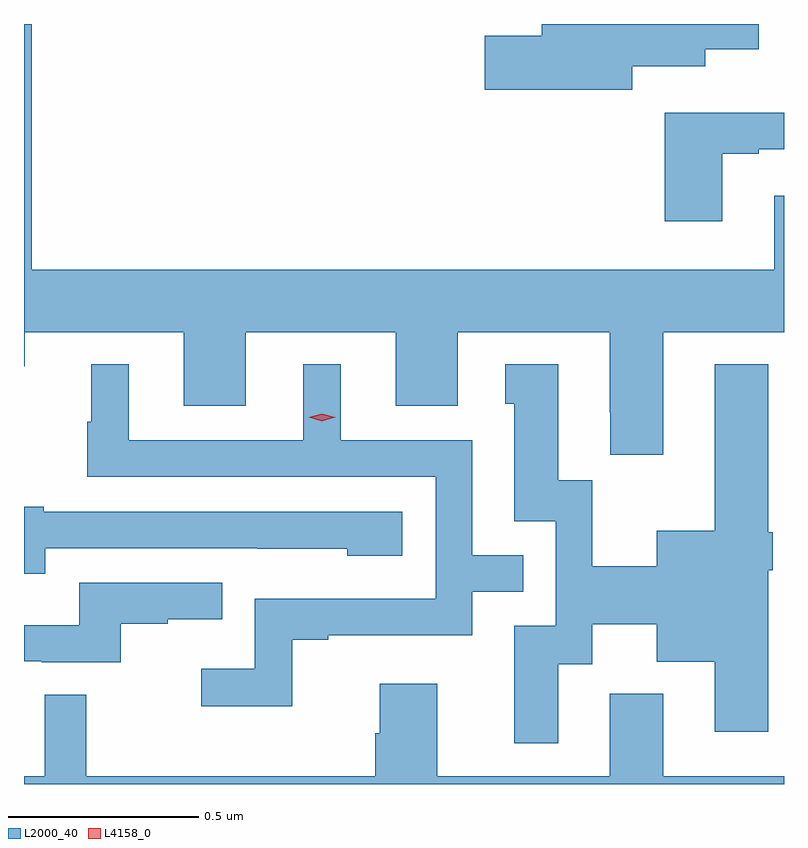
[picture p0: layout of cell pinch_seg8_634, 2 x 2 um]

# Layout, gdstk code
import gdstk
lib = gdstk.Library(unit=1e-6, precision=1e-09)
def P(c, l, *ps):  # polygons
    for p in ps: c.add(gdstk.Polygon(p, *l))
L2000_40 = (2000, 40)
L4158_0 = (4158, 0)

pinch_seg8_634 = lib.new_cell('pinch_seg8_634')
P(pinch_seg8_634, L2000_40, [(216.118,1090.56),(216.31,1090.56),(216.31,1090.604),(216.451,1090.604),(216.451,1090.671),(215.879,1090.671),(215.879,1090.64),(215.73,1090.64),(215.73,1090.498),(216.118,1090.498)],
  [(216.199,1089.86),(216.517,1089.86),(216.517,1090.219),(216.491,1090.219),(216.491,1090.024),(214.538,1090.024),(214.538,1090.671),(214.517,1090.671),(214.517,1089.77),(214.519,1089.77),(214.519,1089.86),(214.937,1089.86),(214.937,1089.666),(215.101,1089.666),(215.101,1089.86),(215.495,1089.86),(215.495,1089.666),(215.659,1089.666),(215.659,1089.86),(216.059,1089.86),(216.059,1089.649),(216.06,1089.649),(216.06,1089.537),(216.199,1089.537)],
  [(216.355,1090.329),(216.451,1090.329),(216.451,1090.341),(216.517,1090.341),(216.517,1090.438),(216.203,1090.438),(216.203,1090.152),(216.355,1090.152)],
  [(215.223,1089.051),(215.317,1089.051),(215.317,1089.063),(215.697,1089.063),(215.697,1089.177),(215.831,1089.177),(215.831,1089.273),(215.697,1089.273),(215.697,1089.576),(215.35,1089.576),(215.35,1089.775),(215.252,1089.775),(215.252,1089.576),(214.792,1089.576),(214.792,1089.775),(214.694,1089.775),(214.694,1089.624),(214.683,1089.624),(214.683,1089.48),(215.601,1089.48),(215.601,1089.159),(215.124,1089.159),(215.124,1088.974),(214.983,1088.974),(214.983,1088.876),(215.223,1088.876)],
  [(215.923,1088.986),(216.013,1088.986),(216.013,1089.092),(216.182,1089.092),(216.182,1088.993),(216.335,1088.993),(216.335,1088.808),(216.475,1088.808),(216.475,1089.233),(216.488,1089.233),(216.488,1089.333),(216.475,1089.333),(216.475,1089.775),(216.335,1089.775),(216.335,1089.337),(216.182,1089.337),(216.182,1089.244),(216.012,1089.244),(216.012,1089.471),(215.923,1089.471),(215.923,1089.775),(215.783,1089.775),(215.783,1089.672),(215.807,1089.672),(215.807,1089.363),(215.916,1089.363),(215.916,1089.087),(215.807,1089.087),(215.807,1088.778),(215.923,1088.778)],
  [(214.573,1089.291),(215.131,1089.291),(215.131,1089.29),(215.367,1089.29),(215.367,1089.272),(215.512,1089.272),(215.512,1089.387),(214.569,1089.387),(214.569,1089.4),(214.517,1089.4),(214.517,1089.224),(214.573,1089.224)],
  [(214.772,1089.093),(214.895,1089.093),(214.895,1089.104),(215.039,1089.104),(215.039,1089.201),(214.662,1089.201),(214.662,1089.089),(214.517,1089.089),(214.517,1088.994),(214.564,1088.994),(214.564,1088.991),(214.772,1088.991)],
  [(216.517,1088.692),(216.199,1088.692),(216.199,1088.908),(216.059,1088.908),(216.059,1088.692),(215.605,1088.692),(215.605,1088.935),(215.453,1088.935),(215.453,1088.805),(215.441,1088.805),(215.441,1088.692),(214.681,1088.692),(214.681,1088.906),(214.572,1088.906),(214.572,1088.692),(214.517,1088.692),(214.517,1088.671),(216.517,1088.671)])
P(pinch_seg8_634, L4158_0, [(215.301,1089.626),(215.266,1089.636),(215.265,1089.636),(215.266,1089.636),(215.301,1089.646),(215.336,1089.636),(215.337,1089.636),(215.336,1089.636)])

lib.write_gds('pinch_seg8_634.gds')
